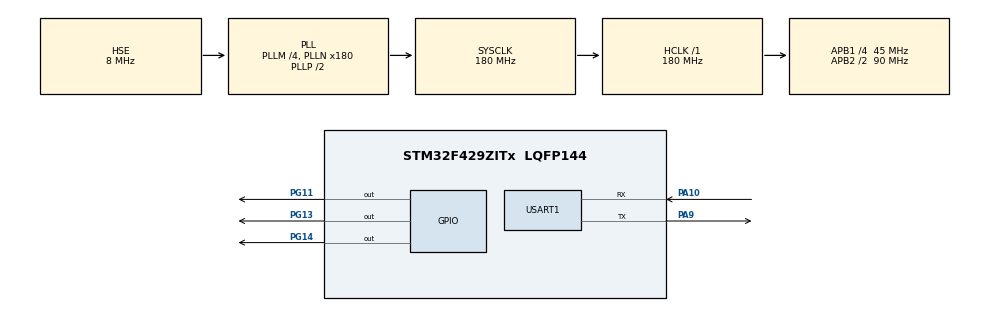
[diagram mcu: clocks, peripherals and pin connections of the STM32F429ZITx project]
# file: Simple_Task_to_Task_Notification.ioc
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FREERTOS.Tasks01=defaultTask,0,128,StartDefaultTask,Default,NULL,Dynamic,NULL,NULL
Mcu.Family=STM32F4
Mcu.Name=STM32F429ZITx
Mcu.Package=LQFP144
NVIC.PriorityGroup=NVIC_PRIORITYGROUP_4
NVIC.TIM6_DAC_IRQn=true\:15\:0\:false\:false\:true\:false\:false\:true\:true
NVIC.TimeBase=TIM6_DAC_IRQn
NVIC.TimeBaseIP=TIM6
PA10.Mode=Asynchronous
PA10.Signal=USART1_RX
PA9.Mode=Asynchronous
PA9.Signal=USART1_TX
PG11.Signal=GPIO_Output
PG13.Signal=GPIO_Output
PG14.Signal=GPIO_Output
PH0/OSC_IN.Mode=HSE-External-Oscillator
PH0/OSC_IN.Signal=RCC_OSC_IN
PH1/OSC_OUT.Mode=HSE-External-Oscillator
PH1/OSC_OUT.Signal=RCC_OSC_OUT
ProjectManager.HeapSize=0x200
ProjectManager.StackSize=0x400
ProjectManager.TargetToolchain=STM32CubeIDE
RCC.48MHZClocksFreq_Value=51428571.428571425
RCC.AHBFreq_Value=180000000
RCC.APB1CLKDivider=RCC_HCLK_DIV4
RCC.APB1Freq_Value=45000000
RCC.APB1TimFreq_Value=90000000
RCC.APB2CLKDivider=RCC_HCLK_DIV2
RCC.APB2Freq_Value=90000000
RCC.APB2TimFreq_Value=180000000
RCC.CortexFreq_Value=180000000
RCC.HCLKFreq_Value=180000000
RCC.HSE_VALUE=8000000
RCC.HSI_VALUE=16000000
RCC.LSE_VALUE=32768
RCC.PLLM=4
RCC.PLLN=180
RCC.PLLQ=7
RCC.PLLSourceVirtual=RCC_PLLSOURCE_HSE
RCC.SYSCLKFreq_VALUE=180000000
RCC.SYSCLKSource=RCC_SYSCLKSOURCE_PLLCLK
RCC.VCOOutputFreq_Value=360000000
USART1.VirtualMode=VM_ASYNC
VP_FREERTOS_VS_CMSIS_V1.Mode=CMSIS_V1
VP_SYS_VS_tim6.Mode=TIM6
board=STM32F429I-DISC1

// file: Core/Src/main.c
/* USER CODE BEGIN Header */
/**
  ******************************************************************************
  * @file           : main.c
  * @brief          : Main program body
  ******************************************************************************
  * @attention
  *
  * Copyright (c) 2025 STMicroelectronics.
  * All rights reserved.
  *
  * This software is licensed under terms that can be found in the LICENSE file
  * in the root directory of this software component.
  * If no LICENSE file comes with this software, it is provided AS-IS.
  *
  ******************************************************************************
  */
/* USER CODE END Header */
#include "main.h"

#include "FreeRTOS.h"
#include "task.h"
#include "timers.h"
#include "queue.h"
#include "semphr.h"
#include "event_groups.h"

UART_HandleTypeDef huart1;

void SystemClock_Config(void);
static void MX_GPIO_Init(void);
static void MX_USART1_UART_Init(void);

/* USER CODE BEGIN 0 */

/* *************************** Task Handles ******************************* */
TaskHandle_t Task01_Handle;
TaskHandle_t Task02_Handle;
TaskHandle_t Task03_Handle;

/* *************************** Task Functions ***************************** */
void Task01(void* pvParameters)
{
	for(;;)
	{
		xTaskNotifyGive(Task02_Handle);
		HAL_GPIO_TogglePin(GPIOG, GPIO_PIN_13);
		HAL_UART_Transmit(&huart1, (uint8_t *)"Task 1: Notification Sent\n", 27, HAL_MAX_DELAY);

		vTaskDelay(1000);
	}
}

void Task02(void* pvParameters)
{
	for(;;)
	{
		ulTaskNotifyTake(pdTRUE, portMAX_DELAY);
		xTaskNotifyGive(Task03_Handle);
		HAL_GPIO_TogglePin(GPIOG, GPIO_PIN_14);
		HAL_UART_Transmit(&huart1, (uint8_t*) "Task 2: Notification Received\n", 30, HAL_MAX_DELAY);
	}
}

void Task03(void* pvParameters)
{
	for(;;)
	{
		ulTaskNotifyTake(pdTRUE, portMAX_DELAY);
		HAL_GPIO_TogglePin(GPIOG, GPIO_PIN_11);
		HAL_UART_Transmit(&huart1, (uint8_t*) "Task 3: Notification Received\n", 30, HAL_MAX_DELAY);
	}
}

/* USER CODE END 0 */

int main(void)
{

  /* MCU Configuration--------------------------------------------------------*/

  /* Reset of all peripherals, Initializes the Flash interface and the Systick. */
  HAL_Init();

  /* Configure the system clock */
  SystemClock_Config();

  /* Initialize all configured peripherals */
  MX_GPIO_Init();
  MX_USART1_UART_Init();
  /* USER CODE BEGIN 2 */

  /* ********************** Create Tasks ************************ */
  xTaskCreate(Task01, "T1", 128, NULL, 2, &Task01_Handle);
  xTaskCreate(Task02, "T2", 128, NULL, 1, &Task02_Handle);
  xTaskCreate(Task03, "T3", 128, NULL, 0, &Task03_Handle);

  /* ********************** Start Scheduler *********************** */
  vTaskStartScheduler();

  /* USER CODE END 2 */

  /* We should never get here as control is now taken by the scheduler */

  /* Infinite loop */
  while (1)
  {

  }
}

void SystemClock_Config(void)
{
  RCC_OscInitTypeDef RCC_OscInitStruct = {0};
  RCC_ClkInitTypeDef RCC_ClkInitStruct = {0};

  /** Configure the main internal regulator output voltage
  */
  __HAL_RCC_PWR_CLK_ENABLE();
  __HAL_PWR_VOLTAGESCALING_CONFIG(PWR_REGULATOR_VOLTAGE_SCALE1);

  /** Initializes the RCC Oscillators according to the specified parameters
  * in the RCC_OscInitTypeDef structure.
  */
  RCC_OscInitStruct.OscillatorType = RCC_OSCILLATORTYPE_HSE;
  RCC_OscInitStruct.HSEState = RCC_HSE_ON;
  RCC_OscInitStruct.PLL.PLLState = RCC_PLL_ON;
  RCC_OscInitStruct.PLL.PLLSource = RCC_PLLSOURCE_HSE;
  RCC_OscInitStruct.PLL.PLLM = 4;
  RCC_OscInitStruct.PLL.PLLN = 180;
  RCC_OscInitStruct.PLL.PLLP = RCC_PLLP_DIV2;
  RCC_OscInitStruct.PLL.PLLQ = 7;
  if (HAL_RCC_OscConfig(&RCC_OscInitStruct) != HAL_OK)
  {
    Error_Handler();
  }

  /** Activate the Over-Drive mode
  */
  if (HAL_PWREx_EnableOverDrive() != HAL_OK)
  {
    Error_Handler();
  }

  /** Initializes the CPU, AHB and APB buses clocks
  */
  RCC_ClkInitStruct.ClockType = RCC_CLOCKTYPE_HCLK|RCC_CLOCKTYPE_SYSCLK
                              |RCC_CLOCKTYPE_PCLK1|RCC_CLOCKTYPE_PCLK2;
  RCC_ClkInitStruct.SYSCLKSource = RCC_SYSCLKSOURCE_PLLCLK;
  RCC_ClkInitStruct.AHBCLKDivider = RCC_SYSCLK_DIV1;
  RCC_ClkInitStruct.APB1CLKDivider = RCC_HCLK_DIV4;
  RCC_ClkInitStruct.APB2CLKDivider = RCC_HCLK_DIV2;

  if (HAL_RCC_ClockConfig(&RCC_ClkInitStruct, FLASH_LATENCY_5) != HAL_OK)
  {
    Error_Handler();
  }
}

static void MX_USART1_UART_Init(void)
{

  huart1.Instance = USART1;
  huart1.Init.BaudRate = 115200;
  huart1.Init.WordLength = UART_WORDLENGTH_8B;
  huart1.Init.StopBits = UART_STOPBITS_1;
  huart1.Init.Parity = UART_PARITY_NONE;
  huart1.Init.Mode = UART_MODE_TX_RX;
  huart1.Init.HwFlowCtl = UART_HWCONTROL_NONE;
  huart1.Init.OverSampling = UART_OVERSAMPLING_16;
  if (HAL_UART_Init(&huart1) != HAL_OK)
  {
    Error_Handler();
  }

}

static void MX_GPIO_Init(void)
{
  GPIO_InitTypeDef GPIO_InitStruct = {0};

  /* GPIO Ports Clock Enable */
  __HAL_RCC_GPIOH_CLK_ENABLE();
  __HAL_RCC_GPIOA_CLK_ENABLE();
  __HAL_RCC_GPIOG_CLK_ENABLE();

  /*Configure GPIO pin Output Level */
  HAL_GPIO_WritePin(GPIOG, GPIO_PIN_11|GPIO_PIN_13|GPIO_PIN_14, GPIO_PIN_RESET);

  /*Configure GPIO pins : PG11 PG13 PG14 */
  GPIO_InitStruct.Pin = GPIO_PIN_11|GPIO_PIN_13|GPIO_PIN_14;
  GPIO_InitStruct.Mode = GPIO_MODE_OUTPUT_PP;
  GPIO_InitStruct.Pull = GPIO_NOPULL;
  GPIO_InitStruct.Speed = GPIO_SPEED_FREQ_LOW;
  HAL_GPIO_Init(GPIOG, &GPIO_InitStruct);

}

void HAL_TIM_PeriodElapsedCallback(TIM_HandleTypeDef *htim)
{
  if (htim->Instance == TIM6)
  {
    HAL_IncTick();
  }
}

void Error_Handler(void)
{
  __disable_irq();
  while (1)
  {
  }
}
